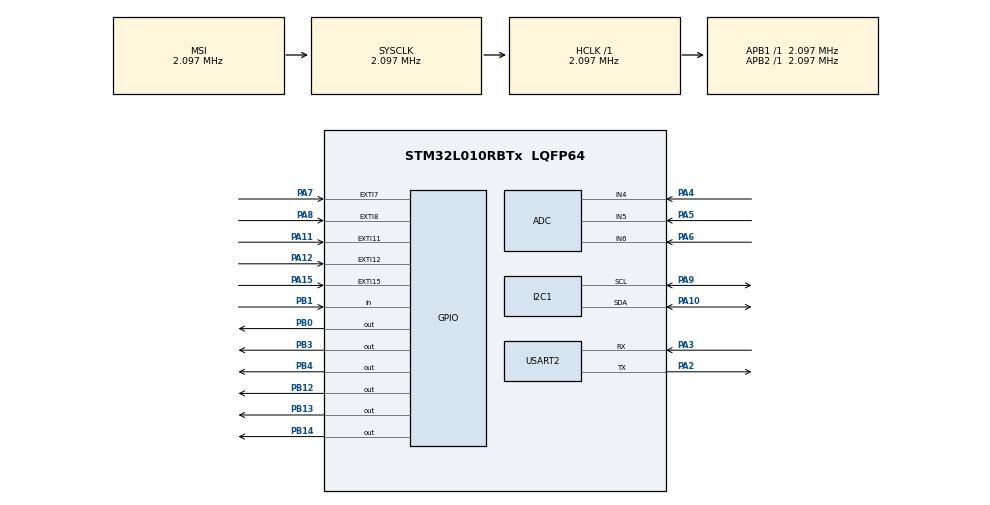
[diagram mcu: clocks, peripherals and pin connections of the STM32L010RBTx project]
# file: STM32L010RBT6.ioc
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I2C1.Timing=0x00000608
Mcu.Family=STM32L0
Mcu.Name=STM32L010RBTx
Mcu.Package=LQFP64
NVIC.EXTI4_15_IRQn=true\:1\:0\:true\:false\:true\:true\:true\:true
NVIC.USART2_IRQn=true\:2\:0\:true\:true\:true\:1\:true\:true\:true
PA0.Signal=S_TIM2_CH1
PA1.Signal=S_TIM2_CH2
PA10.Mode=I2C
PA10.Signal=I2C1_SDA
PA11.GPIO_ModeDefaultEXTI=GPIO_MODE_IT_FALLING
PA11.Signal=GPXTI11
PA12.GPIO_ModeDefaultEXTI=GPIO_MODE_IT_FALLING
PA12.Signal=GPXTI12
PA13.Mode=Serial_Wire
PA13.Signal=SYS_SWDIO
PA14.Mode=Serial_Wire
PA14.Signal=SYS_SWCLK
PA15.GPIO_ModeDefaultEXTI=GPIO_MODE_IT_FALLING
PA15.Signal=GPXTI15
PA2.Mode=Asynchronous
PA2.Signal=USART2_TX
PA3.Mode=Asynchronous
PA3.Signal=USART2_RX
PA4.Mode=IN4
PA4.Signal=ADC_IN4
PA5.Mode=IN5
PA5.Signal=ADC_IN5
PA6.Mode=IN6
PA6.Signal=ADC_IN6
PA7.GPIO_ModeDefaultEXTI=GPIO_MODE_IT_FALLING
PA7.Signal=GPXTI7
PA8.GPIO_ModeDefaultEXTI=GPIO_MODE_IT_FALLING
PA8.Signal=GPXTI8
PA9.Mode=I2C
PA9.Signal=I2C1_SCL
PB0.Signal=GPIO_Output
PB1.Signal=GPIO_Input
PB10.Signal=S_TIM2_CH3
PB12.GPIO_ModeDefaultOutputPP=GPIO_MODE_OUTPUT_PP
PB12.GPIO_PuPd=GPIO_NOPULL
PB12.PinState=GPIO_PIN_SET
PB12.Signal=GPIO_Output
PB13.GPIO_ModeDefaultOutputPP=GPIO_MODE_OUTPUT_PP
PB13.GPIO_PuPd=GPIO_NOPULL
PB13.Signal=GPIO_Output
PB14.GPIO_ModeDefaultOutputPP=GPIO_MODE_OUTPUT_PP
PB14.GPIO_PuPd=GPIO_NOPULL
PB14.PinState=GPIO_PIN_SET
PB14.Signal=GPIO_Output
PB3.Signal=GPIO_Output
PB4.Signal=GPIO_Output
ProjectManager.HeapSize=0x200
ProjectManager.StackSize=0x400
ProjectManager.TargetToolchain=STM32CubeIDE
RCC.AHBFreq_Value=2097000
RCC.APB1Freq_Value=2097000
RCC.APB1TimFreq_Value=2097000
RCC.APB2Freq_Value=2097000
RCC.APB2TimFreq_Value=2097000
RCC.HSE_VALUE=8000000
RCC.HSI16_VALUE=16000000
RCC.HSI_VALUE=16000000
RCC.LSE_VALUE=32768
RCC.MSI_VALUE=2097000
RCC.SYSCLKFreq_VALUE=2097000
RCC.VCOOutputFreq_Value=48000000
SH.S_TIM2_CH1.0=TIM2_CH1
SH.S_TIM2_CH2.0=TIM2_CH2
SH.S_TIM2_CH3.0=TIM2_CH3
USART2.VirtualMode-Asynchronous=VM_ASYNC
board=custom

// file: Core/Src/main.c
/* USER CODE BEGIN Header */
/**
  ******************************************************************************
  * @file           : main.c
  * @brief          : Main program body
  ******************************************************************************
  * @attention
  *
  * Copyright (c) 2025 STMicroelectronics.
  * All rights reserved.
  *
  * This software is licensed under terms that can be found in the LICENSE file
  * in the root directory of this software component.
  * If no LICENSE file comes with this software, it is provided AS-IS.
  *
  ******************************************************************************
  */
/* USER CODE END Header */
#include "main.h"

/* USER CODE BEGIN Includes */
#include <string.h>
#include <stdio.h>
#include <stdbool.h>
/* USER CODE END Includes */

ADC_HandleTypeDef hadc;

I2C_HandleTypeDef hi2c1;

UART_HandleTypeDef huart2;

/* USER CODE BEGIN PV */
uint8_t rxData;
char pongMessage[] = "Pong\r\n";
volatile uint8_t uart_flag = 0;
/* USER CODE END PV */

void SystemClock_Config(void);
static void MX_GPIO_Init(void);
static void MX_ADC_Init(void);
static void MX_I2C1_Init(void);
static void MX_USART2_UART_Init(void);
static void MX_NVIC_Init(void);

int main(void)
{

  /* MCU Configuration--------------------------------------------------------*/

  /* Reset of all peripherals, Initializes the Flash interface and the Systick. */
  HAL_Init();

  /* Configure the system clock */
  SystemClock_Config();

  /* Initialize all configured peripherals */
  MX_GPIO_Init();
  MX_ADC_Init();
  MX_I2C1_Init();
  MX_USART2_UART_Init();

  /* Initialize interrupts */
  MX_NVIC_Init();

  /* USER CODE BEGIN 2 */

  // Start receiving in interrupt mode
    HAL_UART_Receive_IT(&huart2, &rxData, 1);
  /* USER CODE END 2 */

  /* Infinite loop */
  /* USER CODE BEGIN WHILE */
  while (1)
  {

      // Place the code here to set the pins low
      //    HAL_GPIO_WritePin(GPIOB, GPIO_PIN_12, GPIO_PIN_RESET);
       //   HAL_GPIO_WritePin(GPIOB, GPIO_PIN_13, GPIO_PIN_RESET);
      //    HAL_GPIO_WritePin(GPIOB, GPIO_PIN_14, GPIO_PIN_RESET);
      // ADDED CODE START
            // Toggling PB12, PB13, PB14
          // HAL_GPIO_TogglePin(GPIOB, GPIO_PIN_12);
         //   HAL_GPIO_TogglePin(GPIOB, GPIO_PIN_13);
         //   HAL_GPIO_TogglePin(GPIOB, GPIO_PIN_14);
         //   HAL_Delay(1000); // 1-second delay
          /* Send a message over UART */
           //  char *message = "Hello\r\n";
           //  HAL_UART_Transmit(&huart2, (uint8_t *)message, strlen(message), HAL_MAX_DELAY);

             /* Delay for 1 second */
           //  HAL_Delay(1000);

            // ADDED CODE END
    /* USER CODE END WHILE */

    /* USER CODE BEGIN 3 */
	  // Toggle a heartbeat LED to show the MCU is alive (optional)
	   HAL_GPIO_TogglePin(GPIOB, GPIO_PIN_14);
	   HAL_Delay(1000);  // 1-second heartbeat

	   // UART sanity check message every 3 seconds
	   static uint32_t lastTick = 0;
	   if (HAL_GetTick() - lastTick >= 3000)
	   {
	     char testMsg[] = "UART test\r\n";
	     HAL_UART_Transmit(&huart2, (uint8_t*)testMsg, strlen(testMsg), HAL_MAX_DELAY);
	     lastTick = HAL_GetTick();
	   }

  }
  /* USER CODE END 3 */
}

void SystemClock_Config(void)
{
  RCC_OscInitTypeDef RCC_OscInitStruct = {0};
  RCC_ClkInitTypeDef RCC_ClkInitStruct = {0};
  RCC_PeriphCLKInitTypeDef PeriphClkInit = {0};

  /** Configure the main internal regulator output voltage
  */
  __HAL_PWR_VOLTAGESCALING_CONFIG(PWR_REGULATOR_VOLTAGE_SCALE1);

  /** Initializes the RCC Oscillators according to the specified parameters
  * in the RCC_OscInitTypeDef structure.
  */
  RCC_OscInitStruct.OscillatorType = RCC_OSCILLATORTYPE_MSI;
  RCC_OscInitStruct.MSIState = RCC_MSI_ON;
  RCC_OscInitStruct.MSICalibrationValue = 0;
  RCC_OscInitStruct.MSIClockRange = RCC_MSIRANGE_5;
  RCC_OscInitStruct.PLL.PLLState = RCC_PLL_NONE;
  if (HAL_RCC_OscConfig(&RCC_OscInitStruct) != HAL_OK)
  {
    Error_Handler();
  }

  /** Initializes the CPU, AHB and APB buses clocks
  */
  RCC_ClkInitStruct.ClockType = RCC_CLOCKTYPE_HCLK|RCC_CLOCKTYPE_SYSCLK
                              |RCC_CLOCKTYPE_PCLK1|RCC_CLOCKTYPE_PCLK2;
  RCC_ClkInitStruct.SYSCLKSource = RCC_SYSCLKSOURCE_MSI;
  RCC_ClkInitStruct.AHBCLKDivider = RCC_SYSCLK_DIV1;
  RCC_ClkInitStruct.APB1CLKDivider = RCC_HCLK_DIV1;
  RCC_ClkInitStruct.APB2CLKDivider = RCC_HCLK_DIV1;

  if (HAL_RCC_ClockConfig(&RCC_ClkInitStruct, FLASH_LATENCY_0) != HAL_OK)
  {
    Error_Handler();
  }
  PeriphClkInit.PeriphClockSelection = RCC_PERIPHCLK_USART2|RCC_PERIPHCLK_I2C1;
  PeriphClkInit.Usart2ClockSelection = RCC_USART2CLKSOURCE_PCLK1;
  PeriphClkInit.I2c1ClockSelection = RCC_I2C1CLKSOURCE_PCLK1;
  if (HAL_RCCEx_PeriphCLKConfig(&PeriphClkInit) != HAL_OK)
  {
    Error_Handler();
  }
}

/**
  * @brief NVIC Configuration.
  * @retval None
  */
static void MX_NVIC_Init(void)
{
  /* USART2_IRQn interrupt configuration */
  HAL_NVIC_SetPriority(USART2_IRQn, 2, 0);
  HAL_NVIC_EnableIRQ(USART2_IRQn);
}

static void MX_ADC_Init(void)
{

  ADC_ChannelConfTypeDef sConfig = {0};

  /** Configure the global features of the ADC (Clock, Resolution, Data Alignment and number of conversion)
  */
  hadc.Instance = ADC1;
  hadc.Init.OversamplingMode = DISABLE;
  hadc.Init.ClockPrescaler = ADC_CLOCK_SYNC_PCLK_DIV1;
  hadc.Init.Resolution = ADC_RESOLUTION_12B;
  hadc.Init.SamplingTime = ADC_SAMPLETIME_1CYCLE_5;
  hadc.Init.ScanConvMode = ADC_SCAN_DIRECTION_FORWARD;
  hadc.Init.DataAlign = ADC_DATAALIGN_RIGHT;
  hadc.Init.ContinuousConvMode = DISABLE;
  hadc.Init.DiscontinuousConvMode = DISABLE;
  hadc.Init.ExternalTrigConvEdge = ADC_EXTERNALTRIGCONVEDGE_NONE;
  hadc.Init.ExternalTrigConv = ADC_SOFTWARE_START;
  hadc.Init.DMAContinuousRequests = DISABLE;
  hadc.Init.EOCSelection = ADC_EOC_SINGLE_CONV;
  hadc.Init.Overrun = ADC_OVR_DATA_PRESERVED;
  hadc.Init.LowPowerAutoWait = DISABLE;
  hadc.Init.LowPowerFrequencyMode = ENABLE;
  hadc.Init.LowPowerAutoPowerOff = DISABLE;
  if (HAL_ADC_Init(&hadc) != HAL_OK)
  {
    Error_Handler();
  }

  /** Configure for the selected ADC regular channel to be converted.
  */
  sConfig.Channel = ADC_CHANNEL_4;
  sConfig.Rank = ADC_RANK_CHANNEL_NUMBER;
  if (HAL_ADC_ConfigChannel(&hadc, &sConfig) != HAL_OK)
  {
    Error_Handler();
  }

  /** Configure for the selected ADC regular channel to be converted.
  */
  sConfig.Channel = ADC_CHANNEL_5;
  if (HAL_ADC_ConfigChannel(&hadc, &sConfig) != HAL_OK)
  {
    Error_Handler();
  }

  /** Configure for the selected ADC regular channel to be converted.
  */
  sConfig.Channel = ADC_CHANNEL_6;
  if (HAL_ADC_ConfigChannel(&hadc, &sConfig) != HAL_OK)
  {
    Error_Handler();
  }

}

static void MX_I2C1_Init(void)
{

  hi2c1.Instance = I2C1;
  hi2c1.Init.Timing = 0x00000608;
  hi2c1.Init.OwnAddress1 = 0;
  hi2c1.Init.AddressingMode = I2C_ADDRESSINGMODE_7BIT;
  hi2c1.Init.DualAddressMode = I2C_DUALADDRESS_DISABLE;
  hi2c1.Init.OwnAddress2 = 0;
  hi2c1.Init.OwnAddress2Masks = I2C_OA2_NOMASK;
  hi2c1.Init.GeneralCallMode = I2C_GENERALCALL_DISABLE;
  hi2c1.Init.NoStretchMode = I2C_NOSTRETCH_DISABLE;
  if (HAL_I2C_Init(&hi2c1) != HAL_OK)
  {
    Error_Handler();
  }

  /** Configure Analogue filter
  */
  if (HAL_I2CEx_ConfigAnalogFilter(&hi2c1, I2C_ANALOGFILTER_ENABLE) != HAL_OK)
  {
    Error_Handler();
  }

  /** Configure Digital filter
  */
  if (HAL_I2CEx_ConfigDigitalFilter(&hi2c1, 0) != HAL_OK)
  {
    Error_Handler();
  }

}

static void MX_USART2_UART_Init(void)
{

  huart2.Instance = USART2;
  huart2.Init.BaudRate = 115200;
  huart2.Init.WordLength = UART_WORDLENGTH_8B;
  huart2.Init.StopBits = UART_STOPBITS_1;
  huart2.Init.Parity = UART_PARITY_NONE;
  huart2.Init.Mode = UART_MODE_TX_RX;
  huart2.Init.HwFlowCtl = UART_HWCONTROL_NONE;
  huart2.Init.OverSampling = UART_OVERSAMPLING_16;
  huart2.Init.OneBitSampling = UART_ONE_BIT_SAMPLE_DISABLE;
  huart2.AdvancedInit.AdvFeatureInit = UART_ADVFEATURE_NO_INIT;
  if (HAL_UART_Init(&huart2) != HAL_OK)
  {
    Error_Handler();
  }

}

static void MX_GPIO_Init(void)
{
  GPIO_InitTypeDef GPIO_InitStruct = {0};

  /* GPIO Ports Clock Enable */
  __HAL_RCC_GPIOA_CLK_ENABLE();
  __HAL_RCC_GPIOB_CLK_ENABLE();

  /*Configure GPIO pin Output Level */
  HAL_GPIO_WritePin(GPIOB, GPIO_PIN_0|GPIO_PIN_13|GPIO_PIN_3|GPIO_PIN_4, GPIO_PIN_RESET);

  /*Configure GPIO pin Output Level */
  HAL_GPIO_WritePin(GPIOB, GPIO_PIN_12|GPIO_PIN_14, GPIO_PIN_SET);

  /*Configure GPIO pins : PA0 PA1 */
  GPIO_InitStruct.Pin = GPIO_PIN_0|GPIO_PIN_1;
  GPIO_InitStruct.Mode = GPIO_MODE_AF_PP;
  GPIO_InitStruct.Pull = GPIO_NOPULL;
  GPIO_InitStruct.Speed = GPIO_SPEED_FREQ_LOW;
  GPIO_InitStruct.Alternate = GPIO_AF2_TIM2;
  HAL_GPIO_Init(GPIOA, &GPIO_InitStruct);

  /*Configure GPIO pins : PA7 PA8 PA11 PA12
                           PA15 */
  GPIO_InitStruct.Pin = GPIO_PIN_7|GPIO_PIN_8|GPIO_PIN_11|GPIO_PIN_12
                          |GPIO_PIN_15;
  GPIO_InitStruct.Mode = GPIO_MODE_IT_FALLING;
  GPIO_InitStruct.Pull = GPIO_NOPULL;
  HAL_GPIO_Init(GPIOA, &GPIO_InitStruct);

  /*Configure GPIO pins : PB0 PB12 PB13 PB14
                           PB3 PB4 */
  GPIO_InitStruct.Pin = GPIO_PIN_0|GPIO_PIN_12|GPIO_PIN_13|GPIO_PIN_14
                          |GPIO_PIN_3|GPIO_PIN_4;
  GPIO_InitStruct.Mode = GPIO_MODE_OUTPUT_PP;
  GPIO_InitStruct.Pull = GPIO_NOPULL;
  GPIO_InitStruct.Speed = GPIO_SPEED_FREQ_LOW;
  HAL_GPIO_Init(GPIOB, &GPIO_InitStruct);

  /*Configure GPIO pin : PB1 */
  GPIO_InitStruct.Pin = GPIO_PIN_1;
  GPIO_InitStruct.Mode = GPIO_MODE_INPUT;
  GPIO_InitStruct.Pull = GPIO_NOPULL;
  HAL_GPIO_Init(GPIOB, &GPIO_InitStruct);

  /*Configure GPIO pin : PB10 */
  GPIO_InitStruct.Pin = GPIO_PIN_10;
  GPIO_InitStruct.Mode = GPIO_MODE_AF_PP;
  GPIO_InitStruct.Pull = GPIO_NOPULL;
  GPIO_InitStruct.Speed = GPIO_SPEED_FREQ_LOW;
  GPIO_InitStruct.Alternate = GPIO_AF2_TIM2;
  HAL_GPIO_Init(GPIOB, &GPIO_InitStruct);

  /* EXTI interrupt init*/
  HAL_NVIC_SetPriority(EXTI4_15_IRQn, 1, 0);
  HAL_NVIC_EnableIRQ(EXTI4_15_IRQn);

}

/* USER CODE BEGIN 4 */
void HAL_UART_RxCpltCallback(UART_HandleTypeDef *huart)
{
  if (huart->Instance == USART2)
  {
    // Echo received character
    HAL_UART_Transmit(&huart2, &rxData, 1, HAL_MAX_DELAY);

    // Check for 'p' or 'P'
    if (rxData == 'p' || rxData == 'P')
    {
      HAL_UART_Transmit(&huart2, (uint8_t*)pongMessage, strlen(pongMessage), HAL_MAX_DELAY);
      HAL_GPIO_TogglePin(GPIOB, GPIO_PIN_12); // Toggle ping LED
    }

    // Continue listening
    HAL_UART_Receive_IT(&huart2, &rxData, 1);
  }
}
/* USER CODE END 4 */

void Error_Handler(void)
{
  __disable_irq();
  while (1)
  {
  }
}
